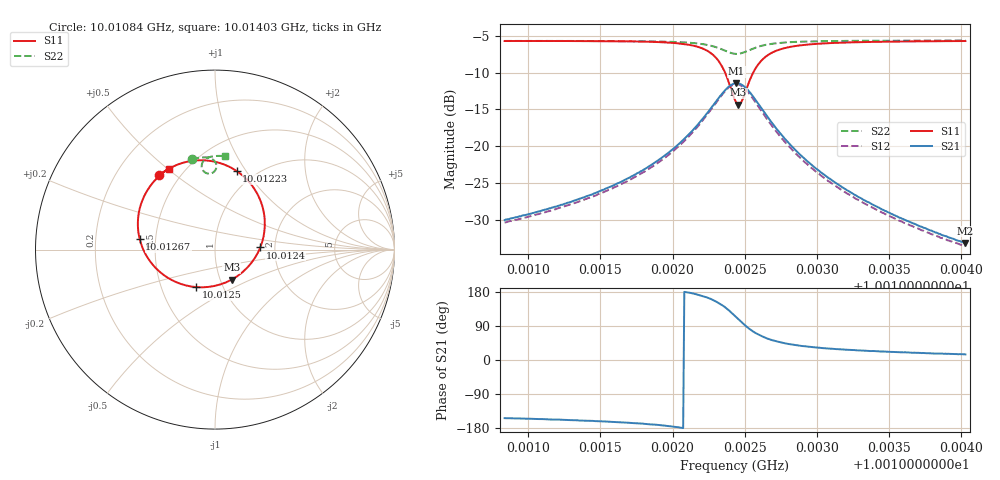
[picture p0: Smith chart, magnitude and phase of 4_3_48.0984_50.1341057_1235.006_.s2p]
#  HZ  S  RI  R  50.00
! Rohde & Schwarz Vector Network Analyzer
! Rohde-Schwarz,ZNB20-2Port,1311601062101988,3.16
! Created: UTC 12/23/2023, 3:35:00 AM
! freq[Hz]  re:S11  im:S11  re:S21  im:S21  re:S12  im:S12  re:S22  im:S22
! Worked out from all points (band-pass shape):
!   401 points, 10.01084 GHz to 10.01403 GHz, reference 50 ohm
!   highest |S21| = -11.43 dB at 10.01244 GHz (marker M1); lowest = -33.2 dB at 10.01403 GHz (marker M2)
!   |S21| within 3 dB of the highest: 10.01228 GHz to 10.0126 GHz (319.2 kHz wide, 0.00319 % of centre)
!   lowest |S11| = -14.4 dB at 10.01246 GHz (marker M3), VSWR 1.47, Z = 56.7 - j19.6 ohm
!   |S11| at or under -10 dB: 10.01236 GHz to 10.01256 GHz (194.8 kHz wide, 0.00195 % of centre)
!   |S22| runs from -7.4 to -5.6 dB; largest |S21 - S12| = 0.013
!   S11 on the Smith chart (normalised r, x): 10.01084 GHz: 0.39, +0.44; 10.01223 GHz: 0.82, +0.91; 10.0124 GHz: 1.67, +0.04; 10.0125 GHz: 0.75, -0.33; 10.01267 GHz: 0.41, +0.06; 10.01403 GHz: 0.41, +0.50
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1.0010836e10  -0.3104 0.4164  -0.0281 -0.014  -0.0261 -0.0151  -0.128 0.5039
1.0011371e10  -0.2521 0.4537  -0.0417 -0.0152  -0.0392 -0.0168  -0.0903 0.5118
1.001169e10  -0.1938 0.4789  -0.0585 -0.0151  -0.0553 -0.0176  -0.0646 0.5143
1.0011906e10  -0.1259 0.4948  -0.08 -0.0119  -0.0763 -0.0155  -0.0437 0.5135
1.0012082e10  -0.0262 0.4942  -0.1119 0.000424  -0.1083 -0.00631  -0.0226 0.5077
1.0012225e10  0.1205 0.4378  -0.1565 0.0366  -0.1544 0.0271  -0.00131 0.4916
1.0012313e10  0.2398 0.3027  -0.1836 0.0989  -0.1855 0.0865  0.00804 0.4675
1.0012361e10  0.2771 0.1632  -0.1827 0.1528  -0.1864 0.1427  0.00466 0.448
1.0012401e10  0.2524 0.0123  -0.157 0.2058  -0.1635 0.1963  -0.00771 0.4318
1.0012433e10  0.1788 -0.1015  -0.1178 0.24  -0.1244 0.2324  -0.0236 0.4242
1.0012441e10  0.1515 -0.1273  -0.1051 0.2468  -0.1114 0.2392  -0.0285 0.4234
1.0012457e10  0.0935 -0.1668  -0.0801 0.2551  -0.0861 0.2482  -0.0377 0.4234
1.0012481e10  -0.00667 -0.2033  -0.0405 0.2582  -0.0463 0.2515  -0.0509 0.4273
1.0012505e10  -0.1044 -0.2089  -0.00376 0.2508  -0.0091 0.2441  -0.0612 0.4345
1.0012545e10  -0.2425 -0.1686  0.044 0.2224  0.0368 0.2162  -0.0716 0.4502
1.0012585e10  -0.3353 -0.0972  0.0707 0.1878  0.0636 0.1821  -0.0743 0.4658
1.0012672e10  -0.4195 0.0585  0.0879 0.1233  0.0801 0.1203  -0.067 0.4899
1.00128e10  -0.4251 0.2015  0.0783 0.0718  0.0715 0.0714  -0.05 0.5067
1.0012968e10  -0.3946 0.2977  0.0614 0.0414  0.0565 0.0421  -0.0304 0.5155
1.0013191e10  -0.355 0.3618  0.0456 0.0236  0.0422 0.0247  -0.00902 0.5202
1.0013503e10  -0.3124 0.4083  0.0327 0.0131  0.0305 0.0139  0.0164 0.522
1.001403e10  -0.2581 0.4505  0.0212 0.00558  0.0199 0.0064  0.0544 0.5211
